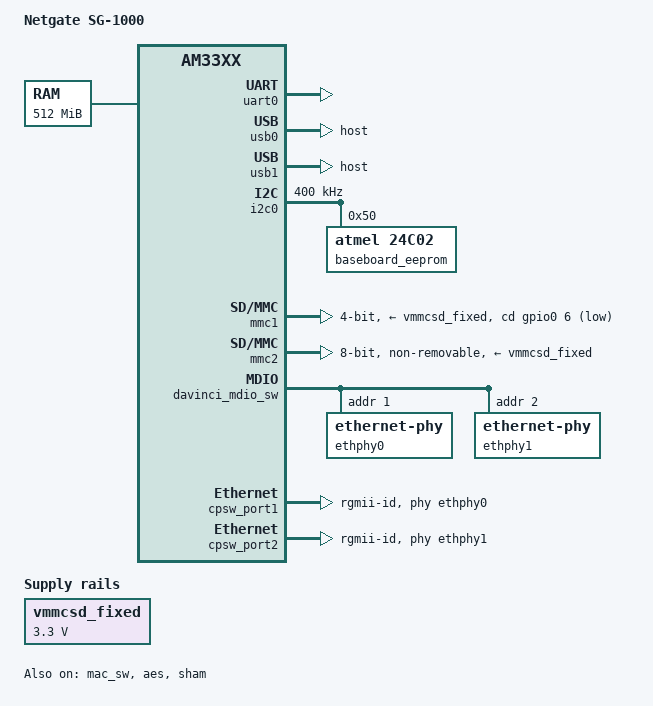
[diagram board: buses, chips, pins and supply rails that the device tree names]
// SPDX-License-Identifier: GPL-2.0-only
/* $NetBSD$ */

/*
 * Copyright (C) 2012 Texas Instruments Incorporated - https://www.ti.com/
 * Copyright (C) 2026 Elias Howell
 */

/*
 * Netgate SG-1000 (AM3352, 512 MB, two KSZ9031 RGMII PHYs at MDIO
 * addresses 1 and 2, microSD on MMC0, 4 GB eMMC on MMC1, AT24C02 at
 * I2C0 0x50, no PMIC).
 */

/dts-v1/;

#include "../../../external/gpl2/dts/dist/arch/arm/boot/dts/ti/omap/am33xx.dtsi"

/ {
	model = "Netgate SG-1000";
	compatible = "netgate,sg1000", "ti,am33xx";

	memory@80000000 {
		device_type = "memory";
		reg = <0x80000000 0x20000000>; /* 512 MB */
	};

	chosen {
		stdout-path = &uart0;
	};

	vmmcsd_fixed: fixedregulator0 {
		compatible = "regulator-fixed";
		regulator-name = "vmmcsd_fixed";
		regulator-min-microvolt = <3300000>;
		regulator-max-microvolt = <3300000>;
	};
};

&am33xx_pinmux {
	i2c0_pins: i2c0-pins {
		pinctrl-single,pins = <
			AM33XX_PADCONF(AM335X_PIN_I2C0_SDA, PIN_INPUT_PULLUP, MUX_MODE0)	/* i2c0_sda.i2c0_sda */
			AM33XX_PADCONF(AM335X_PIN_I2C0_SCL, PIN_INPUT_PULLUP, MUX_MODE0)	/* i2c0_scl.i2c0_scl */
		>;
	};

	uart0_pins: uart0-pins {
		pinctrl-single,pins = <
			AM33XX_PADCONF(AM335X_PIN_UART0_RXD, PIN_INPUT_PULLUP, MUX_MODE0)
			AM33XX_PADCONF(AM335X_PIN_UART0_TXD, PIN_OUTPUT_PULLDOWN, MUX_MODE0)
		>;
	};

	cpsw_default: cpsw-default-pins {
		pinctrl-single,pins = <
			/* Slave 1 */
			AM33XX_PADCONF(AM335X_PIN_MII1_TX_EN, PIN_OUTPUT_PULLDOWN, MUX_MODE2)	/* mii1_txen.rgmii1_tctl */
			AM33XX_PADCONF(AM335X_PIN_MII1_RX_DV, PIN_INPUT_PULLDOWN, MUX_MODE2)	/* mii1_rxdv.rgmii1_rctl */
			AM33XX_PADCONF(AM335X_PIN_MII1_TXD3, PIN_OUTPUT_PULLDOWN, MUX_MODE2)	/* mii1_txd3.rgmii1_td3 */
			AM33XX_PADCONF(AM335X_PIN_MII1_TXD2, PIN_OUTPUT_PULLDOWN, MUX_MODE2)	/* mii1_txd2.rgmii1_td2 */
			AM33XX_PADCONF(AM335X_PIN_MII1_TXD1, PIN_OUTPUT_PULLDOWN, MUX_MODE2)	/* mii1_txd1.rgmii1_td1 */
			AM33XX_PADCONF(AM335X_PIN_MII1_TXD0, PIN_OUTPUT_PULLDOWN, MUX_MODE2)	/* mii1_txd0.rgmii1_td0 */
			AM33XX_PADCONF(AM335X_PIN_MII1_TX_CLK, PIN_OUTPUT_PULLDOWN, MUX_MODE2)	/* mii1_txclk.rgmii1_tclk */
			AM33XX_PADCONF(AM335X_PIN_MII1_RX_CLK, PIN_INPUT_PULLDOWN, MUX_MODE2)	/* mii1_rxclk.rgmii1_rclk */
			AM33XX_PADCONF(AM335X_PIN_MII1_RXD3, PIN_INPUT_PULLDOWN, MUX_MODE2)	/* mii1_rxd3.rgmii1_rd3 */
			AM33XX_PADCONF(AM335X_PIN_MII1_RXD2, PIN_INPUT_PULLDOWN, MUX_MODE2)	/* mii1_rxd2.rgmii1_rd2 */
			AM33XX_PADCONF(AM335X_PIN_MII1_RXD1, PIN_INPUT_PULLDOWN, MUX_MODE2)	/* mii1_rxd1.rgmii1_rd1 */
			AM33XX_PADCONF(AM335X_PIN_MII1_RXD0, PIN_INPUT_PULLDOWN, MUX_MODE2)	/* mii1_rxd0.rgmii1_rd0 */

			/* Slave 2 */
			AM33XX_PADCONF(AM335X_PIN_GPMC_A0, PIN_OUTPUT_PULLDOWN, MUX_MODE2)	/* gpmc_a0.rgmii2_tctl */
			AM33XX_PADCONF(AM335X_PIN_GPMC_A1, PIN_INPUT_PULLDOWN, MUX_MODE2)	/* gpmc_a1.rgmii2_rctl */
			AM33XX_PADCONF(AM335X_PIN_GPMC_A2, PIN_OUTPUT_PULLDOWN, MUX_MODE2)	/* gpmc_a2.rgmii2_td3 */
			AM33XX_PADCONF(AM335X_PIN_GPMC_A3, PIN_OUTPUT_PULLDOWN, MUX_MODE2)	/* gpmc_a3.rgmii2_td2 */
			AM33XX_PADCONF(AM335X_PIN_GPMC_A4, PIN_OUTPUT_PULLDOWN, MUX_MODE2)	/* gpmc_a4.rgmii2_td1 */
			AM33XX_PADCONF(AM335X_PIN_GPMC_A5, PIN_OUTPUT_PULLDOWN, MUX_MODE2)	/* gpmc_a5.rgmii2_td0 */
			AM33XX_PADCONF(AM335X_PIN_GPMC_A6, PIN_OUTPUT_PULLDOWN, MUX_MODE2)	/* gpmc_a6.rgmii2_tclk */
			AM33XX_PADCONF(AM335X_PIN_GPMC_A7, PIN_INPUT_PULLDOWN, MUX_MODE2)	/* gpmc_a7.rgmii2_rclk */
			AM33XX_PADCONF(AM335X_PIN_GPMC_A8, PIN_INPUT_PULLDOWN, MUX_MODE2)	/* gpmc_a8.rgmii2_rd3 */
			AM33XX_PADCONF(AM335X_PIN_GPMC_A9, PIN_INPUT_PULLDOWN, MUX_MODE2)	/* gpmc_a9.rgmii2_rd2 */
			AM33XX_PADCONF(AM335X_PIN_GPMC_A10, PIN_INPUT_PULLDOWN, MUX_MODE2)	/* gpmc_a10.rgmii2_rd1 */
			AM33XX_PADCONF(AM335X_PIN_GPMC_A11, PIN_INPUT_PULLDOWN, MUX_MODE2)	/* gpmc_a11.rgmii2_rd0 */
		>;
	};

	cpsw_sleep: cpsw-sleep-pins {
		pinctrl-single,pins = <
			/* Slave 1 reset value */
			AM33XX_PADCONF(AM335X_PIN_MII1_TX_EN, PIN_INPUT_PULLDOWN, MUX_MODE7)
			AM33XX_PADCONF(AM335X_PIN_MII1_RX_DV, PIN_INPUT_PULLDOWN, MUX_MODE7)
			AM33XX_PADCONF(AM335X_PIN_MII1_TXD3, PIN_INPUT_PULLDOWN, MUX_MODE7)
			AM33XX_PADCONF(AM335X_PIN_MII1_TXD2, PIN_INPUT_PULLDOWN, MUX_MODE7)
			AM33XX_PADCONF(AM335X_PIN_MII1_TXD1, PIN_INPUT_PULLDOWN, MUX_MODE7)
			AM33XX_PADCONF(AM335X_PIN_MII1_TXD0, PIN_INPUT_PULLDOWN, MUX_MODE7)
			AM33XX_PADCONF(AM335X_PIN_MII1_TX_CLK, PIN_INPUT_PULLDOWN, MUX_MODE7)
			AM33XX_PADCONF(AM335X_PIN_MII1_RX_CLK, PIN_INPUT_PULLDOWN, MUX_MODE7)
			AM33XX_PADCONF(AM335X_PIN_MII1_RXD3, PIN_INPUT_PULLDOWN, MUX_MODE7)
			AM33XX_PADCONF(AM335X_PIN_MII1_RXD2, PIN_INPUT_PULLDOWN, MUX_MODE7)
			AM33XX_PADCONF(AM335X_PIN_MII1_RXD1, PIN_INPUT_PULLDOWN, MUX_MODE7)
			AM33XX_PADCONF(AM335X_PIN_MII1_RXD0, PIN_INPUT_PULLDOWN, MUX_MODE7)

			/* Slave 2 reset value */
			AM33XX_PADCONF(AM335X_PIN_GPMC_A0, PIN_INPUT_PULLDOWN, MUX_MODE7)
			AM33XX_PADCONF(AM335X_PIN_GPMC_A1, PIN_INPUT_PULLDOWN, MUX_MODE7)
			AM33XX_PADCONF(AM335X_PIN_GPMC_A2, PIN_INPUT_PULLDOWN, MUX_MODE7)
			AM33XX_PADCONF(AM335X_PIN_GPMC_A3, PIN_INPUT_PULLDOWN, MUX_MODE7)
			AM33XX_PADCONF(AM335X_PIN_GPMC_A4, PIN_INPUT_PULLDOWN, MUX_MODE7)
			AM33XX_PADCONF(AM335X_PIN_GPMC_A5, PIN_INPUT_PULLDOWN, MUX_MODE7)
			AM33XX_PADCONF(AM335X_PIN_GPMC_A6, PIN_INPUT_PULLDOWN, MUX_MODE7)
			AM33XX_PADCONF(AM335X_PIN_GPMC_A7, PIN_INPUT_PULLDOWN, MUX_MODE7)
			AM33XX_PADCONF(AM335X_PIN_GPMC_A8, PIN_INPUT_PULLDOWN, MUX_MODE7)
			AM33XX_PADCONF(AM335X_PIN_GPMC_A9, PIN_INPUT_PULLDOWN, MUX_MODE7)
			AM33XX_PADCONF(AM335X_PIN_GPMC_A10, PIN_INPUT_PULLDOWN, MUX_MODE7)
			AM33XX_PADCONF(AM335X_PIN_GPMC_A11, PIN_INPUT_PULLDOWN, MUX_MODE7)
		>;
	};

	davinci_mdio_default: davinci-mdio-default-pins {
		pinctrl-single,pins = <
			/* MDIO */
			AM33XX_PADCONF(AM335X_PIN_MDIO, PIN_INPUT_PULLUP | SLEWCTRL_FAST, MUX_MODE0)
			AM33XX_PADCONF(AM335X_PIN_MDC, PIN_OUTPUT_PULLUP, MUX_MODE0)
		>;
	};

	davinci_mdio_sleep: davinci-mdio-sleep-pins {
		pinctrl-single,pins = <
			/* MDIO reset value */
			AM33XX_PADCONF(AM335X_PIN_MDIO, PIN_INPUT_PULLDOWN, MUX_MODE7)
			AM33XX_PADCONF(AM335X_PIN_MDC, PIN_INPUT_PULLDOWN, MUX_MODE7)
		>;
	};

	mmc1_pins: mmc1-pins {
		pinctrl-single,pins = <
			AM33XX_PADCONF(AM335X_PIN_SPI0_CS1, PIN_INPUT, MUX_MODE7)		/* spi0_cs1.gpio0_6 */
			AM33XX_PADCONF(AM335X_PIN_MMC0_DAT0, PIN_INPUT_PULLUP, MUX_MODE0)
			AM33XX_PADCONF(AM335X_PIN_MMC0_DAT1, PIN_INPUT_PULLUP, MUX_MODE0)
			AM33XX_PADCONF(AM335X_PIN_MMC0_DAT2, PIN_INPUT_PULLUP, MUX_MODE0)
			AM33XX_PADCONF(AM335X_PIN_MMC0_DAT3, PIN_INPUT_PULLUP, MUX_MODE0)
			AM33XX_PADCONF(AM335X_PIN_MMC0_CMD, PIN_INPUT_PULLUP, MUX_MODE0)
			AM33XX_PADCONF(AM335X_PIN_MMC0_CLK, PIN_INPUT_PULLUP, MUX_MODE0)
		>;
	};

	emmc_pins: emmc-pins {
		pinctrl-single,pins = <
			AM33XX_PADCONF(AM335X_PIN_GPMC_CSN1, PIN_INPUT_PULLUP, MUX_MODE2) /* gpmc_csn1.mmc1_clk */
			AM33XX_PADCONF(AM335X_PIN_GPMC_CSN2, PIN_INPUT_PULLUP, MUX_MODE2) /* gpmc_csn2.mmc1_cmd */
			AM33XX_PADCONF(AM335X_PIN_GPMC_AD0, PIN_INPUT_PULLUP, MUX_MODE1) /* gpmc_ad0.mmc1_dat0 */
			AM33XX_PADCONF(AM335X_PIN_GPMC_AD1, PIN_INPUT_PULLUP, MUX_MODE1) /* gpmc_ad1.mmc1_dat1 */
			AM33XX_PADCONF(AM335X_PIN_GPMC_AD2, PIN_INPUT_PULLUP, MUX_MODE1) /* gpmc_ad2.mmc1_dat2 */
			AM33XX_PADCONF(AM335X_PIN_GPMC_AD3, PIN_INPUT_PULLUP, MUX_MODE1) /* gpmc_ad3.mmc1_dat3 */
			AM33XX_PADCONF(AM335X_PIN_GPMC_AD4, PIN_INPUT_PULLUP, MUX_MODE1) /* gpmc_ad4.mmc1_dat4 */
			AM33XX_PADCONF(AM335X_PIN_GPMC_AD5, PIN_INPUT_PULLUP, MUX_MODE1) /* gpmc_ad5.mmc1_dat5 */
			AM33XX_PADCONF(AM335X_PIN_GPMC_AD6, PIN_INPUT_PULLUP, MUX_MODE1) /* gpmc_ad6.mmc1_dat6 */
			AM33XX_PADCONF(AM335X_PIN_GPMC_AD7, PIN_INPUT_PULLUP, MUX_MODE1) /* gpmc_ad7.mmc1_dat7 */
		>;
	};
};

&uart0 {
	pinctrl-names = "default";
	pinctrl-0 = <&uart0_pins>;

	status = "okay";
};

&usb0 {
	dr_mode = "host";
};

&usb1 {
	dr_mode = "host";
};

&i2c0 {
	pinctrl-names = "default";
	pinctrl-0 = <&i2c0_pins>;

	status = "okay";
	clock-frequency = <400000>;

	baseboard_eeprom: eeprom@50 {
		compatible = "atmel,24c02";
		reg = <0x50>;
	};
};

&mmc1 {
	vmmc-supply = <&vmmcsd_fixed>;
	pinctrl-names = "default";
	pinctrl-0 = <&mmc1_pins>;
	bus-width = <4>;
	cd-gpios = <&gpio0 6 GPIO_ACTIVE_LOW>;
	status = "okay";
};

&mmc2 {
	vmmc-supply = <&vmmcsd_fixed>;
	pinctrl-names = "default";
	pinctrl-0 = <&emmc_pins>;
	bus-width = <8>;
	non-removable;
	status = "okay";
};

&mac_sw {
	pinctrl-names = "default", "sleep";
	pinctrl-0 = <&cpsw_default>;
	pinctrl-1 = <&cpsw_sleep>;
	status = "okay";
};

&davinci_mdio_sw {
	pinctrl-names = "default", "sleep";
	pinctrl-0 = <&davinci_mdio_default>;
	pinctrl-1 = <&davinci_mdio_sleep>;

	/*
	 * Pad skews as set by Netgate's U-Boot on PHY 1: MMD 2 regs
	 * 4/5/6/8 = 0x0070/0x7777/0x0000/0x03f6.
	 */
	ethphy0: ethernet-phy@1 {
		reg = <1>;
		rxc-skew-ps = <1320>;
		rxdv-skew-ps = <420>;
		rxd0-skew-ps = <420>;
		rxd1-skew-ps = <420>;
		rxd2-skew-ps = <420>;
		rxd3-skew-ps = <420>;
		txc-skew-ps = <1860>;
		txen-skew-ps = <0>;
		txd0-skew-ps = <0>;
		txd1-skew-ps = <0>;
		txd2-skew-ps = <0>;
		txd3-skew-ps = <0>;
	};

	/* PHY 2: same values assumed, not measured. */
	ethphy1: ethernet-phy@2 {
		reg = <2>;
		rxc-skew-ps = <1320>;
		rxdv-skew-ps = <420>;
		rxd0-skew-ps = <420>;
		rxd1-skew-ps = <420>;
		rxd2-skew-ps = <420>;
		rxd3-skew-ps = <420>;
		txc-skew-ps = <1860>;
		txen-skew-ps = <0>;
		txd0-skew-ps = <0>;
		txd1-skew-ps = <0>;
		txd2-skew-ps = <0>;
		txd3-skew-ps = <0>;
	};
};

&cpsw_port1 {
	phy-handle = <&ethphy0>;
	phy-mode = "rgmii-id";
	ti,dual-emac-pvid = <1>;
};

&cpsw_port2 {
	phy-handle = <&ethphy1>;
	phy-mode = "rgmii-id";
	ti,dual-emac-pvid = <2>;
};

&aes {
	status = "okay";
};

&sham {
	status = "okay";
};
